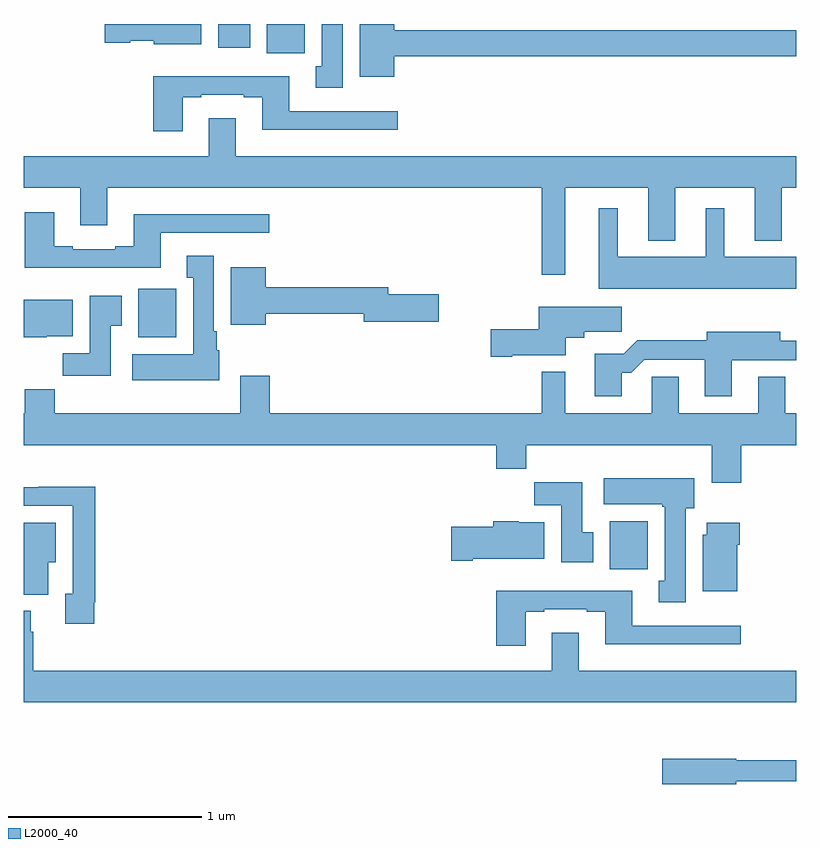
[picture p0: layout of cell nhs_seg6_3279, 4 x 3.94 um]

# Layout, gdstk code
import gdstk
lib = gdstk.Library(unit=1e-6, precision=1e-09)
def R(c, l, rs):  # rectangles x0, y0, x1, y1
    for r in rs: c.add(gdstk.rectangle(r[:2], r[2:], *l))
def P(c, l, *ps):  # polygons
    for p in ps: c.add(gdstk.Polygon(p, *l))
L2000_40 = (2000, 40)

nhs_seg6_3279 = lib.new_cell('nhs_seg6_3279')
R(nhs_seg6_3279, L2000_40, [(306.035,962.676,306.231,962.926), (303.593,963.878,303.789,964.129), (304.259,965.348,304.456,965.5), (304.007,965.376,304.174,965.5)])
P(nhs_seg6_3279, L2000_40, [(304.918,965.332),(307,965.332),(307,965.468),(304.918,965.468),(304.918,965.5),(304.739,965.5),(304.739,965.228),(304.918,965.228)],
  [(303.919,965.5),(303.42,965.5),(303.42,965.402),(303.552,965.402),(303.552,965.414),(303.672,965.414),(303.672,965.396),(303.919,965.396)],
  [(304.651,965.5),(304.544,965.5),(304.544,965.282),(304.511,965.282),(304.511,965.169),(304.651,965.169)],
  [(303.823,965.121),(303.919,965.121),(303.919,965.133),(304.139,965.133),(304.139,965.121),(304.235,965.121),(304.235,964.952),(304.936,964.952),(304.936,965.049),(304.375,965.049),(304.375,965.23),(303.671,965.23),(303.671,964.944),(303.823,964.944)],
  [(305.803,964.652),(306.233,964.652),(306.233,964.379),(306.373,964.379),(306.373,964.652),(306.785,964.652),(306.785,964.379),(306.925,964.379),(306.925,964.652),(307,964.652),(307,964.816),(304.099,964.816),(304.099,965.011),(303.959,965.011),(303.959,964.816),(303,964.816),(303,964.652),(303.293,964.652),(303.293,964.458),(303.433,964.458),(303.433,964.652),(305.682,964.652),(305.682,964.203),(305.803,964.203)],
  [(307,964.294),(306.628,964.294),(306.628,964.546),(306.53,964.546),(306.53,964.294),(306.076,964.294),(306.076,964.546),(305.978,964.546),(305.978,964.13),(307,964.13)],
  [(303.709,964.419),(304.27,964.419),(304.27,964.516),(303.569,964.516),(303.569,964.348),(303.473,964.348),(303.473,964.335),(303.253,964.335),(303.253,964.348),(303.157,964.348),(303.157,964.525),(303.005,964.525),(303.005,964.238),(303.709,964.238)],
  [(304.012,963.81),(304,963.81),(304,963.91),(303.985,963.91),(303.985,964.3),(303.845,964.3),(303.845,964.187),(303.878,964.187),(303.878,963.79),(303.561,963.79),(303.561,963.656),(304.012,963.656)],
  [(304.252,964),(304.76,964),(304.76,963.958),(305.149,963.958),(305.149,964.1),(304.888,964.1),(304.888,964.136),(304.252,964.136),(304.252,964.24),(304.073,964.24),(304.073,963.944),(304.252,963.944)],
  [(303.451,963.937),(303.508,963.937),(303.508,964.093),(303.341,964.093),(303.341,963.796),(303.202,963.796),(303.202,963.678),(303.451,963.678)],
  [(303.12,963.884),(303.253,963.884),(303.253,964.072),(303,964.072),(303,963.878),(303.12,963.878)],
  [(305.53,963.785),(305.806,963.785),(305.806,963.875),(305.902,963.875),(305.902,963.907),(306.097,963.907),(306.097,964.036),(305.666,964.036),(305.666,963.92),(305.418,963.92),(305.418,963.778),(305.53,963.778)],
  [(306.097,963.695),(306.146,963.695),(306.213,963.762),(306.527,963.762),(306.527,963.573),(306.667,963.573),(306.667,963.759),(307,963.759),(307,963.86),(306.916,963.86),(306.916,963.907),(306.536,963.907),(306.536,963.863),(306.176,963.863),(306.106,963.793),(305.957,963.793),(305.957,963.573),(306.097,963.573)],
  [(306.716,963.32),(307,963.32),(307,963.484),(306.943,963.484),(306.943,963.674),(306.803,963.674),(306.803,963.484),(306.391,963.484),(306.391,963.674),(306.252,963.674),(306.252,963.484),(305.803,963.484),(305.803,963.7),(305.682,963.7),(305.682,963.484),(304.274,963.484),(304.274,963.679),(304.121,963.679),(304.121,963.484),(303.161,963.484),(303.161,963.608),(303.005,963.608),(303.005,963.484),(303,963.484),(303,963.32),(305.447,963.32),(305.447,963.196),(305.603,963.196),(305.603,963.32),(306.563,963.32),(306.563,963.126),(306.716,963.126)],
  [(306.427,962.994),(306.472,962.994),(306.472,963.148),(306.003,963.148),(306.003,963.014),(306.307,963.014),(306.307,963.001),(306.32,963.001),(306.32,962.617),(306.287,962.617),(306.287,962.505),(306.427,962.505)],
  [(305.95,962.868),(305.893,962.868),(305.893,963.127),(305.644,963.127),(305.644,963.008),(305.783,963.008),(305.783,962.712),(305.95,962.712)],
  [(303.364,962.506),(303.371,962.506),(303.371,963.104),(303.079,963.104),(303.079,963.102),(303,963.102),(303,963.006),(303.255,963.006),(303.255,962.55),(303.215,962.55),(303.215,962.394),(303.364,962.394)],
  [(305.326,962.732),(305.695,962.732),(305.695,962.92),(305.562,962.92),(305.562,962.926),(305.432,962.926),(305.432,962.898),(305.214,962.898),(305.214,962.72),(305.326,962.72)],
  [(306.694,962.804),(306.707,962.804),(306.707,962.917),(306.536,962.917),(306.536,962.856),(306.515,962.856),(306.515,962.564),(306.694,962.564)],
  [(303.127,962.714),(303.166,962.714),(303.166,962.917),(303,962.917),(303,962.546),(303.127,962.546)],
  [(305.599,962.457),(305.695,962.457),(305.695,962.469),(305.915,962.469),(305.915,962.457),(306.011,962.457),(306.011,962.288),(306.712,962.288),(306.712,962.385),(306.151,962.385),(306.151,962.566),(305.447,962.566),(305.447,962.28),(305.599,962.28)],
  [(307,962.152),(305.875,962.152),(305.875,962.347),(305.735,962.347),(305.735,962.152),(303.05,962.152),(303.05,962.354),(303.037,962.354),(303.037,962.461),(303,962.461),(303,961.988),(307,961.988)],
  [(306.69,961.578),(307,961.578),(307,961.687),(306.69,961.687),(306.69,961.695),(306.306,961.695),(306.306,961.565),(306.69,961.565)])

lib.write_gds('nhs_seg6_3279.gds')
